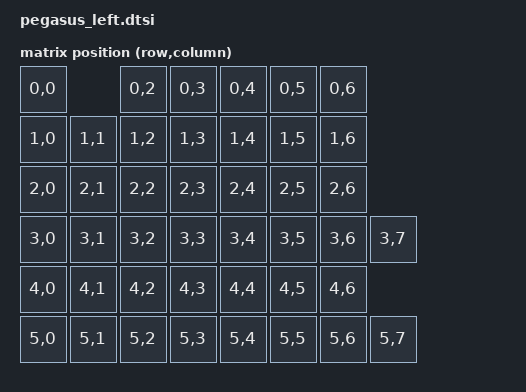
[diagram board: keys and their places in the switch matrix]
#include <dt-bindings/zmk/matrix_transform.h>

/ {
    transform_left: keymap_transform_0 {
        compatible = "zmk,matrix-transform";
        columns = <8>;
        rows = <6>;
// | SW6  | none | SW5  | SW4  | SW3  | SW2  | SW1  | none |
// | SW13 | SW12 | SW11 | SW10 | SW9  | SW8  | SW7  | none |
// | SW20 | SW19 | SW18 | SW17 | SW16 | SW15 | SW14 | none |
// | SW27 | SW26 | SW25 | SW24 | SW23 | SW22 | SW21 | SW28 |
// | SW35 | SW34 | SW33 | SW32 | SW31 | SW30 | SW29 | none |
// | SW42 | SW41 | SW40 | SW39 | SW38 | SW37 | none | SW36 |

        map = <
RC(0,0)         RC(0,2) RC(0,3) RC(0,4) RC(0,5) RC(0,6) 
RC(1,0) RC(1,1) RC(1,2) RC(1,3) RC(1,4) RC(1,5) RC(1,6) 
RC(2,0) RC(2,1) RC(2,2) RC(2,3) RC(2,4) RC(2,5) RC(2,6) 
RC(3,0) RC(3,1) RC(3,2) RC(3,3) RC(3,4) RC(3,5) RC(3,6) RC(3,7)
RC(4,0) RC(4,1) RC(4,2) RC(4,3) RC(4,4) RC(4,5) RC(4,6) 
RC(5,0) RC(5,1) RC(5,2) RC(5,3) RC(5,4) RC(5,5) RC(5,6) RC(5,7)
        >;
    };

};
